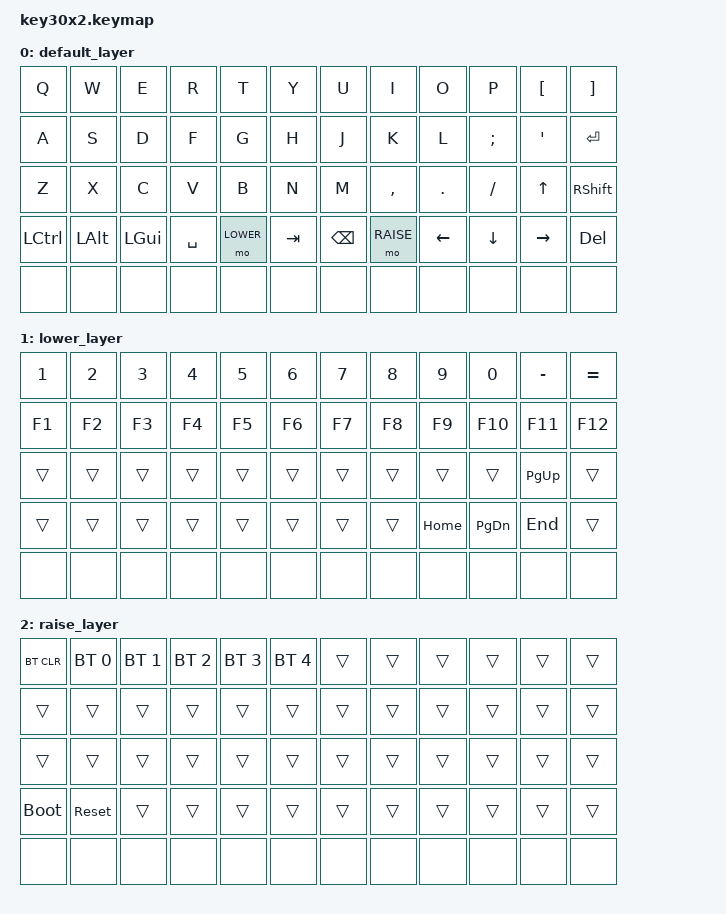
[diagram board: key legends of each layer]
#include <behaviors.dtsi>
#include <dt-bindings/zmk/keys.h>
#include <dt-bindings/zmk/bt.h>

/* レイヤーの定義 */
#define DEFAULT 0
#define LOWER   1
#define RAISE   2

/ {
    keymap {
        compatible = "zmk,keymap";

        /* Layer 0: デフォルト (アルファベット) */
        default_layer {
            bindings = <
&kp Q      &kp W      &kp E      &kp R      &kp T      &kp Y         &kp U      &kp I      &kp O      &kp P      &kp LBKT   &kp RBKT
&kp A      &kp S      &kp D      &kp F      &kp G      &kp H         &kp J      &kp K      &kp L      &kp SEMI   &kp SQT    &kp RET
&kp Z      &kp X      &kp C      &kp V      &kp B      &kp N         &kp M      &kp COMMA  &kp DOT    &kp FSLH   &kp UP     &kp RSHIFT
&kp LCTRL  &kp LALT   &kp LGUI   &kp SPACE  &mo LOWER  &kp TAB       &kp BSPC   &mo RAISE  &kp LEFT   &kp DOWN   &kp RIGHT  &kp DEL
&none      &none      &none      &none      &none      &none         &none      &none      &none      &none      &none      &none
            >;
        };

        /* Layer 1: Lower (数字・記号) */
        lower_layer {
            bindings = <
&kp N1     &kp N2     &kp N3     &kp N4     &kp N5     &kp N6        &kp N7     &kp N8     &kp N9     &kp N0     &kp MINUS  &kp EQUAL
&kp F1     &kp F2     &kp F3     &kp F4     &kp F5     &kp F6        &kp F7     &kp F8     &kp F9     &kp F10    &kp F11    &kp F12
&trans     &trans     &trans     &trans     &trans     &trans        &trans     &trans     &trans     &trans     &kp PG_UP  &trans
&trans     &trans     &trans     &trans     &trans     &trans        &trans     &trans     &kp HOME   &kp PG_DN  &kp END    &trans
&none      &none      &none      &none      &none      &none         &none      &none      &none      &none      &none      &none
            >;
        };

        /* Layer 2: Raise (Bluetooth設定・特殊機能) */
        raise_layer {
            bindings = <
&bt BT_CLR &bt BT_SEL 0 &bt BT_SEL 1 &bt BT_SEL 2 &bt BT_SEL 3 &bt BT_SEL 4    &trans     &trans     &trans     &trans     &trans     &trans
&trans     &trans       &trans       &trans       &trans       &trans          &trans     &trans     &trans     &trans     &trans     &trans
&trans     &trans       &trans       &trans       &trans       &trans          &trans     &trans     &trans     &trans     &trans     &trans
&bootloader &sys_reset  &trans       &trans       &trans       &trans          &trans     &trans     &trans     &trans     &trans     &trans
&none      &none        &none        &none        &none        &none           &none      &none      &none      &none      &none      &none
            >;
        };
    };
};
